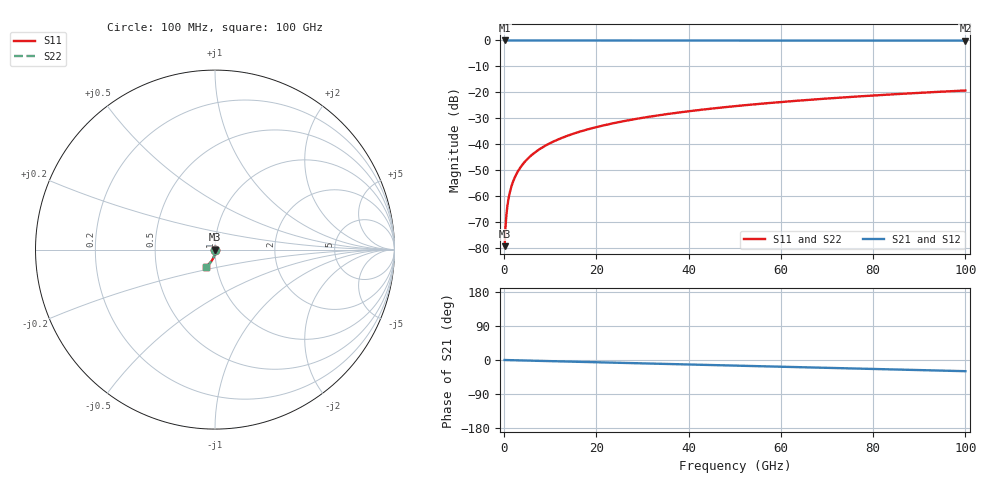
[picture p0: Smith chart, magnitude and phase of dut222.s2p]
! Touchstone file exported from HFSS 2026.1.0
!  File:  C:/ffzhzh/LocalFiles/Ansys_Project_Files/temp_train_TSV_222_1783507846_55944.aedt
!  Generated:  06:51:52 PM Jul  8, 2026
!  Design:  TSV
!  Project:  temp_train_TSV_222_1783507846_55944
! Variables:
!  h_bsmrdl = 2um
!  h_ox = 20um
!  h_rdl = 5um
!  h_sub = 56.79um
!  h_tmrdl = 5um
!  h_tsv = 56.79um
!  h_via = 3um
!  l_bsmrdl = 300um
!  l_sub = 424.4um
!  l_tmrdl = 200um
!  m_sub = 200um
!  pitch = 40.16um
!  r_tsv = 12.2um
!  s_tmrdl = 10um
!  w_bsmrdl = 18um
!  w_sub = 500um
!  w_tmrdl = 12um
!  x_tsv_center1 = 206um
!  x_tsv_center2 = 524um
!  x_tsv_center3 = 736um
!  x_tsv_center4 = 1054um
!  x_tsv_center5 = 1266um
!  x_tsv_center6 = 1584um
# GHz S MA R 50.000000
! Terminal data exported
! Port[1] = TSV1_1_T1
! Port[2] = TSV1_1_T2
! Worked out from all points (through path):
!   1000 points, 100 MHz to 100 GHz, reference 50 ohm
!   highest |S21| = 0.00 dB at 100 MHz (marker M1); lowest = -0.1 dB at 100 GHz (marker M2)
!   group delay of S21, straight-line fit = 820 fs
!   lowest |S11| = -79.5 dB at 100 MHz (marker M3), VSWR 1.00, Z = 50 - j0.00728 ohm
!   |S11| at or under -10 dB: start of sweep to end of sweep
!   |S22| runs from -79.5 to -19.3 dB; largest |S21 - S12| = 2e-15
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0.1  0.0001064 -43.2  0.9999 -0.0  0.9999 -0.0  0.0001064 -43.2
! Gamma 0 0 0 0
! Port Impedance 50 0 50 0
0.4  0.0003424 -69.2  0.9999 -0.1  0.9999 -0.1  0.0003424 -69.2
0.7  0.0006297 -74.7  0.9998 -0.2  0.9998 -0.2  0.0006297 -74.7
0.8  0.0007289 -75.9  0.9998 -0.2  0.9998 -0.2  0.0007289 -75.9
1.1  0.00103 -78.6  0.9998 -0.3  0.9998 -0.3  0.00103 -78.6
1.4  0.001334 -80.3  0.9998 -0.4  0.9998 -0.4  0.001334 -80.3
1.8  0.001741 -81.8  0.9997 -0.5  0.9997 -0.5  0.001741 -81.8
2.4  0.002358 -83.3  0.9997 -0.7  0.9997 -0.7  0.002358 -83.3
3  0.002982 -84.3  0.9997 -0.9  0.9997 -0.9  0.002982 -84.3
3.8  0.003821 -85.3  0.9996 -1.1  0.9996 -1.1  0.003821 -85.3
4.8  0.004878 -86.3  0.9996 -1.4  0.9996 -1.4  0.004878 -86.3
5.9  0.006046 -87.2  0.9995 -1.8  0.9995 -1.8  0.006046 -87.2
8.7  0.009033 -88.9  0.9994 -2.6  0.9994 -2.6  0.009033 -88.9
12.3  0.01289 -90.5  0.9992 -3.7  0.9992 -3.7  0.01289 -90.5
16.8  0.01774 -92.2  0.999 -5.0  0.999 -5.0  0.01774 -92.3
24.1  0.02565 -94.9  0.9987 -7.1  0.9987 -7.1  0.02565 -94.9
33.4  0.03573 -98.0  0.9982 -9.9  0.9982 -9.9  0.03573 -98.0
41.2  0.0442 -100.5  0.9977 -12.2  0.9977 -12.2  0.0442 -100.5
50.1  0.05387 -103.3  0.9971 -14.8  0.9971 -14.8  0.05387 -103.3
66.7  0.07195 -108.3  0.9957 -19.7  0.9957 -19.7  0.07195 -108.4
83.4  0.09013 -113.4  0.994 -24.6  0.994 -24.6  0.09012 -113.5
100  0.1081 -118.6  0.9918 -29.5  0.9918 -29.5  0.1081 -118.6
